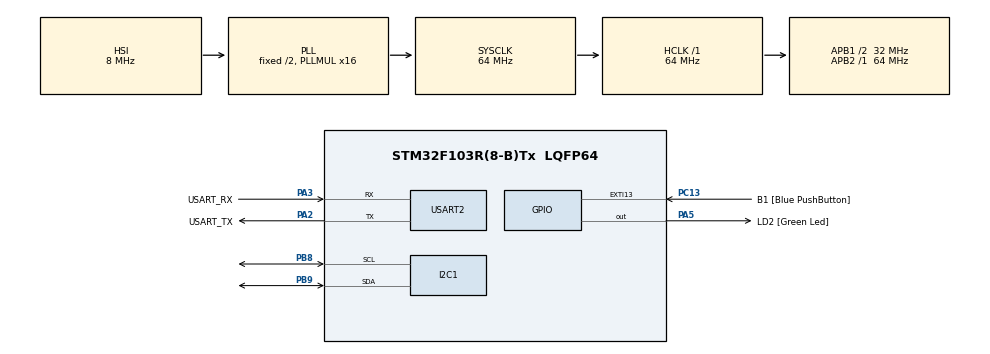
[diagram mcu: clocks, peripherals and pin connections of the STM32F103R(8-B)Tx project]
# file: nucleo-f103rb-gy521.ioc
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Mcu.Family=STM32F1
Mcu.Name=STM32F103R(8-B)Tx
Mcu.Package=LQFP64
NVIC.EXTI15_10_IRQn=true\:0\:0\:false\:false\:true\:true\:true\:true
NVIC.PriorityGroup=NVIC_PRIORITYGROUP_4
PA13.GPIO_Label=TMS
PA13.Mode=Serial_Wire
PA13.Signal=SYS_JTMS-SWDIO
PA14.GPIO_Label=TCK
PA14.Mode=Serial_Wire
PA14.Signal=SYS_JTCK-SWCLK
PA2.GPIO_Label=USART_TX
PA2.GPIO_Mode=GPIO_MODE_AF_PP
PA2.GPIO_PuPd=GPIO_NOPULL
PA2.GPIO_Speed=GPIO_SPEED_FREQ_LOW
PA2.Mode=Asynchronous
PA2.Signal=USART2_TX
PA3.GPIO_Label=USART_RX
PA3.GPIO_Mode=GPIO_MODE_AF_PP
PA3.GPIO_PuPd=GPIO_NOPULL
PA3.GPIO_Speed=GPIO_SPEED_FREQ_LOW
PA3.Mode=Asynchronous
PA3.Signal=USART2_RX
PA5.GPIO_Label=LD2 [Green Led]
PA5.GPIO_ModeDefaultOutputPP=GPIO_MODE_OUTPUT_PP
PA5.GPIO_PuPd=GPIO_NOPULL
PA5.GPIO_Speed=GPIO_SPEED_FREQ_LOW
PA5.Signal=GPIO_Output
PB3.GPIO_Label=SWO
PB3.Signal=SYS_JTDO-TRACESWO
PB8.Mode=I2C
PB8.Signal=I2C1_SCL
PB9.Mode=I2C
PB9.Signal=I2C1_SDA
PC13-TAMPER-RTC.GPIO_Label=B1 [Blue PushButton]
PC13-TAMPER-RTC.GPIO_PuPd=GPIO_NOPULL
PC13-TAMPER-RTC.Signal=GPXTI13
PC14-OSC32_IN.Mode=LSE-External-Oscillator
PC14-OSC32_IN.Signal=RCC_OSC32_IN
PC15-OSC32_OUT.Mode=LSE-External-Oscillator
PC15-OSC32_OUT.Signal=RCC_OSC32_OUT
PD0-OSC_IN.Mode=HSE-External-Clock-Source
PD0-OSC_IN.Signal=RCC_OSC_IN
PD1-OSC_OUT.Mode=HSE-External-Clock-Source
PD1-OSC_OUT.Signal=RCC_OSC_OUT
ProjectManager.HeapSize=0x200
ProjectManager.StackSize=0x400
ProjectManager.TargetToolchain=STM32CubeIDE
RCC.AHBFreq_Value=64000000
RCC.APB1CLKDivider=RCC_HCLK_DIV2
RCC.APB1Freq_Value=32000000
RCC.APB1TimFreq_Value=64000000
RCC.APB2Freq_Value=64000000
RCC.APB2TimFreq_Value=64000000
RCC.HCLKFreq_Value=64000000
RCC.PLLMUL=RCC_PLL_MUL16
RCC.RTCClockSelection=RCC_RTCCLKSOURCE_LSE
RCC.SYSCLKFreq_VALUE=64000000
RCC.SYSCLKSource=RCC_SYSCLKSOURCE_PLLCLK
RCC.USBFreq_Value=64000000
USART2.VirtualMode=VM_ASYNC
board=NUCLEO-F103RB

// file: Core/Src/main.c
/* USER CODE BEGIN Header */
/**
  ******************************************************************************
  * @file           : main.c
  * @brief          : Main program body
  ******************************************************************************
  * @attention
  *
  * Copyright (c) 2022 STMicroelectronics.
  * All rights reserved.
  *
  * This software is licensed under terms that can be found in the LICENSE file
  * in the root directory of this software component.
  * If no LICENSE file comes with this software, it is provided AS-IS.
  *
  ******************************************************************************
  */
/* USER CODE END Header */
#include "main.h"

/* USER CODE BEGIN Includes */
#include <string.h>
/* USER CODE END Includes */

/* USER CODE BEGIN PD */
#define WHO_AM_I_REG			0x75
#define MPU_ADDR					0x68 << 1 // <---- 0xD0 8-bit address(Device Address) for I2C.
#define PWR_MAGT_1_REG		0x6B              // 	   Need to leave the last bit-field empty for "R/W bit: Write"
#define CONFIG_REG				0x1A          // 	   It is a common method.
#define GYRO_CONFIG_REG		0x1B
#define ACCEL_CONFIG_REG	0x1C
#define SMPLRT_DIV_REG			0x19
#define INT_STATUS_REG		0x3A
#define ACCEL_XOUT_H_REG			0x3B
#define TEMP_OUT_H_REG		0x41
#define GYRO_XOUT_H_REG				0x43
#define FIFO_EN_REG 			0x23
#define INT_ENABLE_REG 		0x38
#define I2CMACO_REG 			0x23
#define USER_CNT_REG			0x6A
#define FIFO_COUNTH_REG 	0x72
#define FIFO_R_W_REG 			0x74

int16_t Accel_X_RAW = 0;
int16_t Accel_Y_RAW = 0;
int16_t Accel_Z_RAW = 0;

int16_t Gyro_X_RAW = 0;
int16_t Gyro_Y_RAW = 0;
int16_t Gyro_Z_RAW = 0;

float Ax, Ay, Az, Gx, Gy, Gz;
/* USER CODE END PD */

I2C_HandleTypeDef hi2c1;

UART_HandleTypeDef huart2;

void SystemClock_Config(void);
static void MX_GPIO_Init(void);
static void MX_USART2_UART_Init(void);
static void MX_I2C1_Init(void);

/* USER CODE BEGIN 0 */
void MPU6050_Init(void){
	uint8_t check, Data;

	// Checking device ID WHO_AM_I
	HAL_I2C_Mem_Read(&hi2c1, MPU_ADDR, WHO_AM_I_REG, 1, &check, 1, HAL_MAX_DELAY);

	if(check == 104){
		Data = 0;
		HAL_I2C_Mem_Write(&hi2c1, MPU_ADDR, PWR_MAGT_1_REG, 1, &Data, 1, HAL_MAX_DELAY);
		Data = 0x07; //SMPLRT_DIV_REG
		HAL_I2C_Mem_Write(&hi2c1, MPU_ADDR, SMPLRT_DIV_REG, 1, &Data, 1, HAL_MAX_DELAY);

		// Set accelerometer configuration in ACCEL_CONFIG Register
		// XA_ST = 0, YA_ST = 0, ZA_ST = 0, AFS_SEL = 0 -> ±2g
		Data = 0x00; //SMPLRT_DIV_REG
		HAL_I2C_Mem_Write(&hi2c1, MPU_ADDR, ACCEL_CONFIG_REG, 1, &Data, 1, HAL_MAX_DELAY);

		// Set Gyroscopic configuration in GYRO_CONFIG_REG
		// XG_ST = 0, YG_ST = 0, ZG_ST = 0, FS_SEL = 0 -> ±250 °/s
		Data = 0x0; //SMPLRT_DIV_REG
		HAL_I2C_Mem_Write(&hi2c1, MPU_ADDR, GYRO_CONFIG_REG, 1, &Data, 1, HAL_MAX_DELAY);
	}
}

void MPU6050_READ_Accel(void){
	uint8_t Rec_data[6]; // read 6 BYTES of data starting from ACCEL_XOUT_H register.

	HAL_I2C_Mem_Read(&hi2c1, MPU_ADDR, ACCEL_XOUT_H_REG, 1, Rec_data, 6, HAL_MAX_DELAY);

	Accel_X_RAW = (int16_t)(Rec_data[0] << 8 | Rec_data[1]);
	Accel_Y_RAW = (int16_t)(Rec_data[2] << 8 | Rec_data[3]);
	Accel_Z_RAW = (int16_t)(Rec_data[4] << 8 | Rec_data[5]);

	Ax = Accel_X_RAW/16384.0;
	Ay = Accel_Y_RAW/16384.0;
	Az = Accel_Z_RAW/16384.0;

}
int MPU6050_READ_Gyro(void){
	uint8_t Rec_data[6]; // read 6 BYTES of data starting from ACCEL_XOUT_H register.
						 // 6 BYTES, 2 BYTES for each axis.

	HAL_I2C_Mem_Read(&hi2c1, MPU_ADDR, GYRO_XOUT_H_REG, 1, Rec_data, 6, HAL_MAX_DELAY);

	Gyro_X_RAW = (int16_t)(Rec_data[0] << 8 | Rec_data[1]);
	Gyro_Y_RAW = (int16_t)(Rec_data[2] << 8 | Rec_data[3]);
	Gyro_Z_RAW = (int16_t)(Rec_data[4] << 8 | Rec_data[5]);

	Gx = Gyro_X_RAW/131.0;
	Gy = Gyro_Y_RAW/131.0;
	Gz = Gyro_Z_RAW/131.0;
}

/* USER CODE END 0 */

int main(void)
{
  /* USER CODE BEGIN 1 */
  float buf[4] = {'\0'};
  /* USER CODE END 1 */

  /* MCU Configuration--------------------------------------------------------*/

  /* Reset of all peripherals, Initializes the Flash interface and the Systick. */
  HAL_Init();

  /* Configure the system clock */
  SystemClock_Config();

  /* Initialize all configured peripherals */
  MX_GPIO_Init();
  MX_USART2_UART_Init();
  MX_I2C1_Init();
  /* USER CODE BEGIN 2 */
  MPU6050_Init();
  /* USER CODE END 2 */

  /* Infinite loop */
  while (1)
  {

    /* USER CODE BEGIN 3 */
	MPU6050_READ_Accel();
	MPU6050_READ_Gyro();

	sprintf(buf, "Ax: %.2fg      Gx: %.2f\r\n", Ax, Gx);
	HAL_UART_Transmit(&huart2, buf, strlen((char*)buf), 100);
	sprintf(buf, "Ay: %.2fg      Gy: %.2f\r\n", Ay, Gy);
	HAL_UART_Transmit(&huart2, buf, strlen((char*)buf), 100);
	sprintf(buf, "Az: %.2fg      Gz: %.2f\r\n", Az, Gz);
	HAL_UART_Transmit(&huart2, buf, strlen((char*)buf), 100);
	HAL_Delay(200);
  }
  /* USER CODE END 3 */
}

void SystemClock_Config(void)
{
  RCC_OscInitTypeDef RCC_OscInitStruct = {0};
  RCC_ClkInitTypeDef RCC_ClkInitStruct = {0};

  /** Initializes the RCC Oscillators according to the specified parameters
  * in the RCC_OscInitTypeDef structure.
  */
  RCC_OscInitStruct.OscillatorType = RCC_OSCILLATORTYPE_HSI;
  RCC_OscInitStruct.HSIState = RCC_HSI_ON;
  RCC_OscInitStruct.HSICalibrationValue = RCC_HSICALIBRATION_DEFAULT;
  RCC_OscInitStruct.PLL.PLLState = RCC_PLL_ON;
  RCC_OscInitStruct.PLL.PLLSource = RCC_PLLSOURCE_HSI_DIV2;
  RCC_OscInitStruct.PLL.PLLMUL = RCC_PLL_MUL16;
  if (HAL_RCC_OscConfig(&RCC_OscInitStruct) != HAL_OK)
  {
    Error_Handler();
  }

  /** Initializes the CPU, AHB and APB buses clocks
  */
  RCC_ClkInitStruct.ClockType = RCC_CLOCKTYPE_HCLK|RCC_CLOCKTYPE_SYSCLK
                              |RCC_CLOCKTYPE_PCLK1|RCC_CLOCKTYPE_PCLK2;
  RCC_ClkInitStruct.SYSCLKSource = RCC_SYSCLKSOURCE_PLLCLK;
  RCC_ClkInitStruct.AHBCLKDivider = RCC_SYSCLK_DIV1;
  RCC_ClkInitStruct.APB1CLKDivider = RCC_HCLK_DIV2;
  RCC_ClkInitStruct.APB2CLKDivider = RCC_HCLK_DIV1;

  if (HAL_RCC_ClockConfig(&RCC_ClkInitStruct, FLASH_LATENCY_2) != HAL_OK)
  {
    Error_Handler();
  }
}

static void MX_I2C1_Init(void)
{

  hi2c1.Instance = I2C1;
  hi2c1.Init.ClockSpeed = 100000;
  hi2c1.Init.DutyCycle = I2C_DUTYCYCLE_2;
  hi2c1.Init.OwnAddress1 = 0;
  hi2c1.Init.AddressingMode = I2C_ADDRESSINGMODE_7BIT;
  hi2c1.Init.DualAddressMode = I2C_DUALADDRESS_DISABLE;
  hi2c1.Init.OwnAddress2 = 0;
  hi2c1.Init.GeneralCallMode = I2C_GENERALCALL_DISABLE;
  hi2c1.Init.NoStretchMode = I2C_NOSTRETCH_DISABLE;
  if (HAL_I2C_Init(&hi2c1) != HAL_OK)
  {
    Error_Handler();
  }

}

static void MX_USART2_UART_Init(void)
{

  huart2.Instance = USART2;
  huart2.Init.BaudRate = 115200;
  huart2.Init.WordLength = UART_WORDLENGTH_8B;
  huart2.Init.StopBits = UART_STOPBITS_1;
  huart2.Init.Parity = UART_PARITY_NONE;
  huart2.Init.Mode = UART_MODE_TX_RX;
  huart2.Init.HwFlowCtl = UART_HWCONTROL_NONE;
  huart2.Init.OverSampling = UART_OVERSAMPLING_16;
  if (HAL_UART_Init(&huart2) != HAL_OK)
  {
    Error_Handler();
  }

}

static void MX_GPIO_Init(void)
{
  GPIO_InitTypeDef GPIO_InitStruct = {0};

  /* GPIO Ports Clock Enable */
  __HAL_RCC_GPIOC_CLK_ENABLE();
  __HAL_RCC_GPIOD_CLK_ENABLE();
  __HAL_RCC_GPIOA_CLK_ENABLE();
  __HAL_RCC_GPIOB_CLK_ENABLE();

  /*Configure GPIO pin Output Level */
  HAL_GPIO_WritePin(LD2_GPIO_Port, LD2_Pin, GPIO_PIN_RESET);

  /*Configure GPIO pin : B1_Pin */
  GPIO_InitStruct.Pin = B1_Pin;
  GPIO_InitStruct.Mode = GPIO_MODE_IT_RISING;
  GPIO_InitStruct.Pull = GPIO_NOPULL;
  HAL_GPIO_Init(B1_GPIO_Port, &GPIO_InitStruct);

  /*Configure GPIO pin : LD2_Pin */
  GPIO_InitStruct.Pin = LD2_Pin;
  GPIO_InitStruct.Mode = GPIO_MODE_OUTPUT_PP;
  GPIO_InitStruct.Pull = GPIO_NOPULL;
  GPIO_InitStruct.Speed = GPIO_SPEED_FREQ_LOW;
  HAL_GPIO_Init(LD2_GPIO_Port, &GPIO_InitStruct);

  /* EXTI interrupt init*/
  HAL_NVIC_SetPriority(EXTI15_10_IRQn, 0, 0);
  HAL_NVIC_EnableIRQ(EXTI15_10_IRQn);

}

void Error_Handler(void)
{
  __disable_irq();
  while (1)
  {
  }
}
